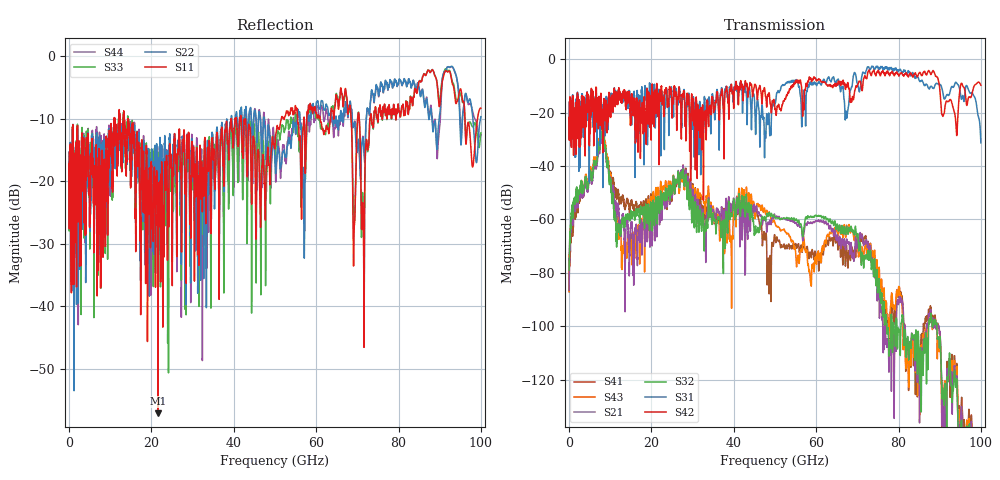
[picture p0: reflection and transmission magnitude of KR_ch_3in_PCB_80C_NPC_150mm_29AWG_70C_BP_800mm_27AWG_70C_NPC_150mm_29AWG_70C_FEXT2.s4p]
# GHz S RI R 45
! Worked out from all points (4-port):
!   4000 points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, 25 MHz to 100 GHz, reference 45 ohm
!   strongest paths, dB at 25 MHz, 25.02 GHz, 50.02 GHz, 75.03 GHz, 100 GHz:
!     S42: -21.8, -20.6, -18.8, -4.2, -9.7
!     S31: -21.7, -16.7, -16.4, -3.0, -31.3
!     S32: -79.0, -48.8, -59.5, -85.9, -150.8
!     S21: -86.5, -49.9, -58.9, -87.8, -153.8
!     S43: -86.9, -47.4, -61.3, -81.4, -144.5
!     S41: -87.1, -51.4, -66.6, -82.9, -144.8
!   lowest |S11| = -57.1 dB at 21.6 GHz (marker M1), VSWR 1.00, Z = 44.9 + j0.0126 ohm
!   |S11| at or under -10 dB: start of sweep to 10.99 GHz; 14.33 GHz to 39.35 GHz (25.01 GHz wide, 93.2 % of centre); 42.85 GHz to 51.56 GHz (8.711 GHz wide, 18.5 % of centre) (the widest 3 of 29)
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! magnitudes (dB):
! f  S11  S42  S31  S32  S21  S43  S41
! 25 MHz  -17.2  -21.8  -21.7  -79.0  -86.5  -86.9  -87.1
! 8.025 GHz  -16.5  -26.0  -22.9  -27.1  -29.0  -25.7  -27.6
! 13.2 GHz  -9.7  -12.1  -13.5  -59.9  -58.7  -70.9  -51.9
! 21.6 GHz  -57.1  -14.4  -20.0  -51.2  -53.8  -47.9  -50.1
! 27.48 GHz  -14.7  -13.7  -15.9  -44.1  -42.9  -45.3  -42.6
! 77.1 GHz  -9.4  -5.1  -2.8  -97.1  -105.8  -92.2  -97.8
! 100 GHz  -8.3  -9.7  -31.3  -150.8  -153.8  -144.5  -144.8
